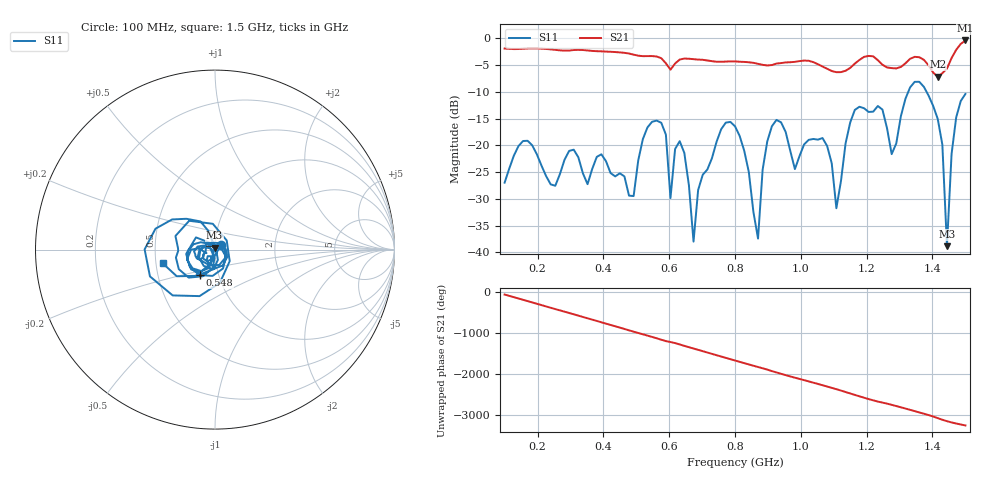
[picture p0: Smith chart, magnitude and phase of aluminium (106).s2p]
! NanoVNA-App
! Date: 2025-09-26 09:58:53
! Start: 100MHz Stop: 1,5GHz Points: 101
! S-Parameter data: F S11 S21 S12 S22
# Hz S RI R 50
!  Frequency  S11_Real  S11_Imag  S21_Real  S21_Imag  S12_Real  S12_Imag  S22_Real  S22_Imag
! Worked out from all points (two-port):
!   101 points, 100 MHz to 1.5 GHz, reference 50 ohm
!   highest |S21| = -0.41 dB at 1.5 GHz (marker M1); lowest = -7.2 dB at 1.416 GHz (marker M2)
!   |S21| within 3 dB of the highest: start of sweep to 562 MHz; 1.461 GHz to end of sweep (the widest 2 of 3)
!   lowest |S11| = -38.8 dB at 1.444 GHz (marker M3), VSWR 1.02, Z = 49.7 + j1.11 ohm
!   |S11| at or under -10 dB: start of sweep to 1.327 GHz; 1.382 GHz to end of sweep
!   S12 and S22 are empty: the file has one direction only
!   S11 on the Smith chart (normalised r, x): 100 MHz: 1.07, +0.06; 548 MHz: 0.81, -0.24; 1.5 GHz: 0.54, -0.09
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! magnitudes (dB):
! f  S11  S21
! 100 MHz  -27.0  -1.9
! 156 MHz  -19.2  -2.0
! 338 MHz  -25.2  -2.2
! 492 MHz  -29.5  -3.1
! 548 MHz  -15.6  -3.3
! 576 MHz  -15.8  -3.7
! 604 MHz  -29.9  -5.9
! 646 MHz  -21.4  -3.8
! 674 MHz  -38.0  -3.9
! 702 MHz  -25.5  -4.0
! 800 MHz  -16.4  -4.3
! 870 MHz  -37.4  -4.8
! 912 MHz  -16.4  -5.0
! 1.038 GHz  -18.8  -4.5
! 1.108 GHz  -31.8  -6.3
! 1.164 GHz  -13.4  -4.7
! 1.276 GHz  -21.6  -5.6
! 1.346 GHz  -8.1  -3.5
! 1.416 GHz  -15.1  -7.2
! 1.444 GHz  -38.8  -5.6
! 1.458 GHz  -21.6  -3.7
! 1.5 GHz  -10.4  -0.4
